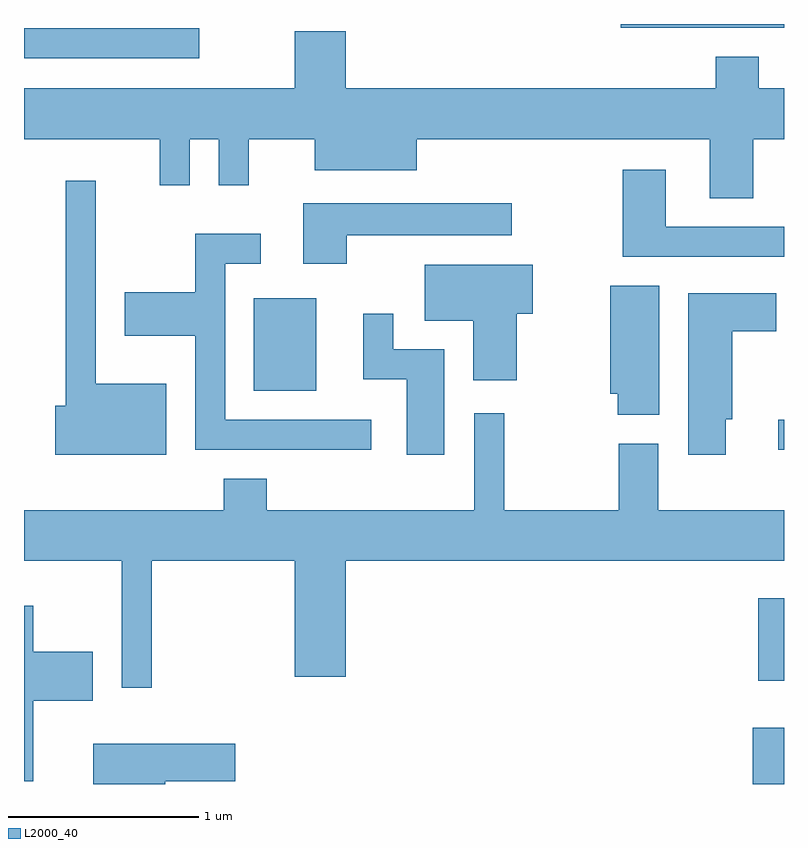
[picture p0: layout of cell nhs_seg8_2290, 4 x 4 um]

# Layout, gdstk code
import gdstk
lib = gdstk.Library(unit=1e-6, precision=1e-09)
def R(c, l, rs):  # rectangles x0, y0, x1, y1
    for r in rs: c.add(gdstk.rectangle(r[:2], r[2:], *l))
def P(c, l, *ps):  # polygons
    for p in ps: c.add(gdstk.Polygon(p, *l))
L2000_40 = (2000, 40)

nhs_seg8_2290 = lib.new_cell('nhs_seg8_2290')
R(nhs_seg8_2290, L2000_40, [(257.446,1846.342,257.611,1846.639), (257.476,1846.886,257.611,1847.319), (257.582,1848.101,257.611,1848.259), (254.821,1848.411,255.149,1848.899), (253.611,1850.161,254.533,1850.319), (256.753,1850.321,257.611,1850.342)])
P(nhs_seg8_2290, L2000_40, [(257.449,1849.736),(257.611,1849.736),(257.611,1850.004),(257.479,1850.004),(257.479,1850.169),(257.251,1850.169),(257.251,1850.004),(255.304,1850.004),(255.304,1850.304),(255.036,1850.304),(255.036,1850.004),(253.611,1850.004),(253.611,1849.736),(254.326,1849.736),(254.326,1849.493),(254.484,1849.493),(254.484,1849.736),(254.636,1849.736),(254.636,1849.493),(254.794,1849.493),(254.794,1849.736),(255.141,1849.736),(255.141,1849.571),(255.679,1849.571),(255.679,1849.736),(257.221,1849.736),(257.221,1849.426),(257.449,1849.426)],
  [(257.611,1849.274),(256.989,1849.274),(256.989,1849.574),(256.761,1849.574),(256.761,1849.116),(257.611,1849.116)],
  [(254.359,1848.449),(253.989,1848.449),(253.989,1849.518),(253.831,1849.518),(253.831,1848.334),(253.776,1848.334),(253.776,1848.076),(254.359,1848.076)],
  [(255.309,1849.231),(256.178,1849.231),(256.178,1849.399),(255.081,1849.399),(255.081,1849.081),(255.309,1849.081)],
  [(255.438,1848.259),(254.669,1848.259),(254.669,1849.081),(254.858,1849.081),(254.858,1849.239),(254.511,1849.239),(254.511,1848.929),(254.141,1848.929),(254.141,1848.701),(254.511,1848.701),(254.511,1848.101),(255.438,1848.101)],
  [(256.204,1848.816),(256.289,1848.816),(256.289,1849.074),(255.721,1849.074),(255.721,1848.781),(255.976,1848.781),(255.976,1848.466),(256.204,1848.466)],
  [(256.954,1848.964),(256.696,1848.964),(256.696,1848.396),(256.736,1848.396),(256.736,1848.286),(256.954,1848.286)],
  [(257.304,1848.261),(257.339,1848.261),(257.339,1848.726),(257.569,1848.726),(257.569,1848.924),(257.106,1848.924),(257.106,1848.076),(257.304,1848.076)],
  [(255.824,1848.629),(255.554,1848.629),(255.554,1848.818),(255.396,1848.818),(255.396,1848.471),(255.626,1848.471),(255.626,1848.076),(255.824,1848.076)],
  [(254.284,1847.516),(255.036,1847.516),(255.036,1846.906),(255.304,1846.906),(255.304,1847.516),(257.611,1847.516),(257.611,1847.784),(256.949,1847.784),(256.949,1848.134),(256.741,1848.134),(256.741,1847.784),(256.139,1847.784),(256.139,1848.293),(255.981,1848.293),(255.981,1847.784),(254.889,1847.784),(254.889,1847.949),(254.661,1847.949),(254.661,1847.784),(253.611,1847.784),(253.611,1847.516),(254.126,1847.516),(254.126,1846.848),(254.284,1846.848)],
  [(253.659,1846.781),(253.974,1846.781),(253.974,1847.039),(253.659,1847.039),(253.659,1847.279),(253.611,1847.279),(253.611,1846.356),(253.659,1846.356)],
  [(254.354,1846.356),(254.724,1846.356),(254.724,1846.554),(253.976,1846.554),(253.976,1846.342),(254.354,1846.342)])

lib.write_gds('nhs_seg8_2290.gds')
